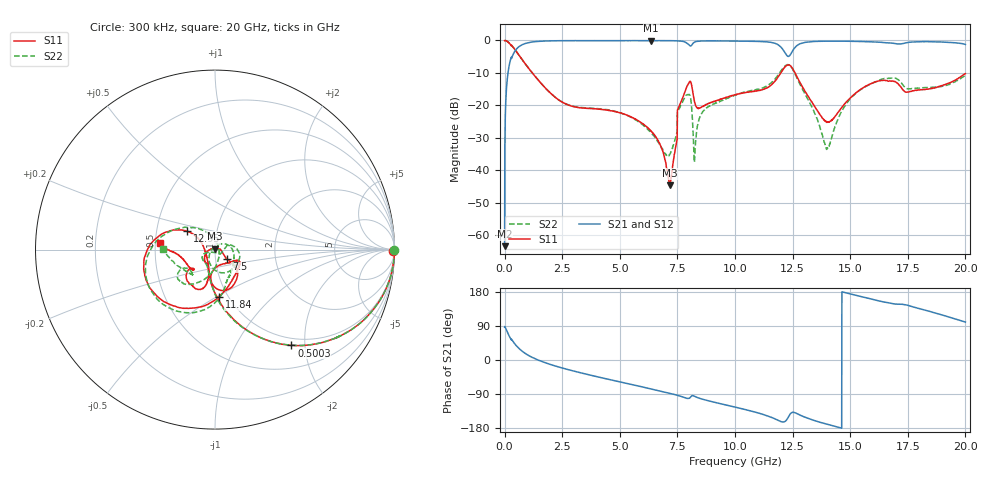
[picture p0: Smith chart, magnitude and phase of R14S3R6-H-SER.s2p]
!{R14S3R6}
!Johanson Technology Inc.
!www.johansontechnology.com
!Test Board Conditions:
!Substrate Type  RO4350B
!Substrate Thickness  20 mil
!Substrate Dk  3.66
!TL Type: GCPW
!TL Trace Width  36 mil
!TL Gap  12 mil
!Electrode orientation  Horizontal
!DUT TOPOLOGY	SERIES
!Mounting Pad LxW  26x36 mil
! Created Wed Nov 25 17:33:21 2020
! 2 Port Network Data from SP1.SP block
! freq  magS11  angS11  magS21  angS21  magS12  angS12  magS22  angS22
# khz S ma R 50
! decimated to every 10th point (10 MHz spacing) of the original 1 MHz Johanson file; values unchanged
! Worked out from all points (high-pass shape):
!   2001 points, 300 kHz to 20 GHz, reference 50 ohm
!   highest |S21| = -0.05 dB at 6.36 GHz (marker M1); lowest = -63.4 dB at 300 kHz (marker M2)
!   |S21| within 3 dB of the highest: 470.9 MHz to 12.1 GHz (11.63 GHz wide, 185 % of centre); 12.51 GHz to end of sweep
!   lowest |S11| = -44.6 dB at 7.16 GHz (marker M3), VSWR 1.01, Z = 50 + j0.585 ohm
!   |S11| at or under -10 dB: 1.2 GHz to 11.98 GHz (10.78 GHz wide, 164 % of centre); 12.61 GHz to end of sweep
!   |S22| runs from -37.6 to 0.0 dB; largest |S21 - S12| = 0.018
!   S11 on the Smith chart (normalised r, x): 300 kHz: open; 500.3 MHz: 0.87, -1.74; 7.5 GHz: 1.13, -0.12; 11.84 GHz: 0.91, -0.51; 12.95 GHz: 0.72, +0.15; 20 GHz: 0.53, +0.04
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300  0.9935 -0.3  0.0006738 86.8  0.0006502 88.8  0.9982 -0.2
140300  0.9511 -19.1  0.3028 70.9  0.3042 70.7  0.952 -19.0
500300  0.6828 -51.4  0.7259 38.3  0.7275 38.3  0.6821 -51.3
1360300  0.2698 -87.1  0.9608 2.3  0.9605 2.2  0.2708 -87.8
3340300  0.09116 -121.2  0.9923 -34.3  0.9924 -34.3  0.09237 -125.9
6360300  0.04023 -169.6  0.9944 -76.3  0.9931 -76.3  0.03788 -155.8
6670300  0.02847 179.8  0.9932 -80.6  0.9932 -80.6  0.02709 -147.1
7160300  0.005862 92.5  0.9919 -87.7  0.9918 -87.7  0.01722 -83.6
7500300  0.08384 -39.5  0.9847 -93.1  0.9854 -93.1  0.07745 21.4
8010300  0.2254 -63.7  0.8512 -101.0  0.8514 -100.9  0.1471 -48.8
8270300  0.1043 -90.7  0.9529 -96.5  0.953 -96.4  0.02098 79.5
8660300  0.09841 -49.9  0.9821 -104.6  0.9818 -104.6  0.08428 14.0
1.00003e7  0.1454 -25.0  0.9776 -124.3  0.9784 -124.3  0.143 -48.6
1.18403e7  0.2639 -85.1  0.8708 -158.3  0.8711 -158.2  0.2838 -87.5
1.23903e7  0.4121 -164.6  0.5933 -143.0  0.598 -143.3  0.4098 -160.7
1.29503e7  0.1856 146.8  0.9181 -148.9  0.9176 -148.9  0.1719 134.6
1.33403e7  0.1115 146.4  0.9582 -157.7  0.9585 -157.7  0.09372 110.4
1.40203e7  0.05458 -165.1  0.9767 -170.0  0.9757 -170.0  0.0219 4.5
1.49903e7  0.1286 -105.2  0.9708 174.6  0.9728 174.4  0.1254 -97.2
1.66703e7  0.2355 -121.9  0.917 150.8  0.9099 150.8  0.261 -136.3
1.74803e7  0.16 -136.7  0.9263 144.6  0.9266 144.5  0.1801 -142.1
2e7  0.3076 173.4  0.8676 100.2  0.8689 100.3  0.2887 179.0
